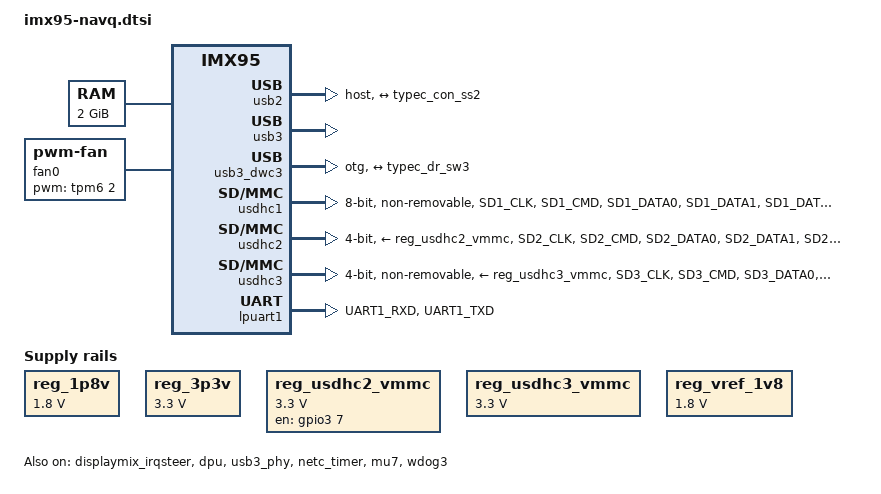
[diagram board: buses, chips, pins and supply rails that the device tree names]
// SPDX-License-Identifier: (GPL-2.0+ OR MIT)
/*
 * Copyright 2025 NXP
 */

/dts-v1/;

#include <dt-bindings/pwm/pwm.h>
#include <dt-bindings/phy/phy-imx8-pcie.h>
#include <dt-bindings/usb/pd.h>
#include "imx95.dtsi"

#define FALLING_EDGE		BIT(0)
#define RISING_EDGE		BIT(1)

#define BRD_SM_CTRL_SD3_WAKE		0x8000	/*!< PCAL6408A-0 */
#define BRD_SM_CTRL_PCIE1_WAKE		0x8001	/*!< PCAL6408A-4 */
#define BRD_SM_CTRL_BT_WAKE		0x8002	/*!< PCAL6408A-5 */
#define BRD_SM_CTRL_PCIE2_WAKE		0x8003	/*!< PCAL6408A-6 */
#define BRD_SM_CTRL_BUTTON		0x8004	/*!< PCAL6408A-7 */

/ {
	aliases {
		mmc0 = &usdhc1;
		mmc1 = &usdhc2;
		serial0 = &lpuart1;
		ethernet0 = &enetc_port0;
		ethernet1 = &enetc_port2;
	};

	chosen {
		stdout-path = &lpuart1;
		#address-cells = <2>;
		#size-cells = <2>;
		/* will be updated by U-boot when booting Xen */
		module@0 {
			bootargs = "earlycon=xen console=hvc0 loglevel=8 root=/dev/mmcblk1p2 rw rootwait";
			compatible = "xen,linux-zimage", "xen,multiboot-module";
			reg = <0x00000000 0x9e000000 0x00000000 0x2000000>;
		};
	};

	memory@80000000 {
		device_type = "memory";
		reg = <0x0 0x80000000 0 0x80000000>;
	};

	fan0: pwm-fan {
		compatible = "pwm-fan";
		#cooling-cells = <2>;
		pwms = <&tpm6 2 4000000 PWM_POLARITY_INVERTED>;
		cooling-levels = <64 128 192 255>;
	};

	reserved-memory {
		#address-cells = <2>;
		#size-cells = <2>;
		ranges;

		linux_cma: linux,cma {
			compatible = "shared-dma-pool";
			alloc-ranges = <0 0x80000000 0 0x7f000000>;
			size = <0 0x3c000000>;
			linux,cma-default;
			reusable;
		};

		vpu_boot: vpu_boot@a0000000 {
			reg = <0 0xa0000000 0 0x100000>;
			no-map;
		};

		vdev0vring0: vdev0vring0@88000000 {
			reg = <0 0x88000000 0 0x8000>;
			no-map;
		};

		vdev0vring1: vdev0vring1@88008000 {
			reg = <0 0x88008000 0 0x8000>;
			no-map;
		};

		vdev1vring0: vdev1vring0@88010000 {
			reg = <0 0x88010000 0 0x8000>;
			no-map;
		};

		vdev1vring1: vdev1vring1@88018000 {
			reg = <0 0x88018000 0 0x8000>;
			no-map;
		};

		rsc_table: rsc-table@88220000 {
			reg = <0 0x88220000 0 0x1000>;
			no-map;
		};

		vdevbuffer: vdevbuffer@88020000 {
			compatible = "shared-dma-pool";
			reg = <0 0x88020000 0 0x100000>;
			no-map;
		};

		m7text: m7text@90000000 {
			reg = <0 0x90000000 0 0x400000>;
			no-map;
		};

                uboolspl: uboolspl@88240000 {
	                reg = <0 0x88240000 0 0x58000>;
			no-map;
                };
	};

	reg_1p8v: regulator-1p8v {
		compatible = "regulator-fixed";
		regulator-max-microvolt = <1800000>;
		regulator-min-microvolt = <1800000>;
		regulator-name = "+V1.8_SW";
	};

	reg_3p3v: regulator-3p3v {
		compatible = "regulator-fixed";
		regulator-max-microvolt = <3300000>;
		regulator-min-microvolt = <3300000>;
		regulator-name = "+V3.3_SW";
	};

	reg_usdhc2_vmmc: regulator-usdhc2 {
		compatible = "regulator-fixed";
		pinctrl-names = "default";
		pinctrl-0 = <&pinctrl_reg_usdhc2_vmmc>;
		regulator-name = "VDD_SD2_3V3";
		regulator-min-microvolt = <3300000>;
		regulator-max-microvolt = <3300000>;
		gpio = <&gpio3 7 GPIO_ACTIVE_HIGH>;
		enable-active-high;
		off-on-delay-us = <12000>;
	};

	reg_usdhc3_vmmc: regulator-usdhc3 {
		compatible = "regulator-fixed";
		regulator-name = "vmmcusdhc3_fixed";
		regulator-min-microvolt = <3300000>;
		regulator-max-microvolt = <3300000>;
	};

	reg_vref_1v8: regulator-adc-vref {
		compatible = "regulator-fixed";
		regulator-name = "vref_1v8";
		regulator-min-microvolt = <1800000>;
		regulator-max-microvolt = <1800000>;
	};

	cm7: imx95-cm7 {
		compatible = "fsl,imx95-cm7";
		mbox-names = "tx", "rx", "rxdb";
		mboxes = <&mu7 0 1
			  &mu7 1 1
			  &mu7 3 1>;
		memory-region = <&vdevbuffer>, <&vdev0vring0>, <&vdev0vring1>,
				<&vdev1vring0>, <&vdev1vring1>, <&rsc_table>;
		/* cpuid and lmmid must align with SM firmware */
		fsl,cpu-id = <1>;
		fsl,lmm-id = <1>;
		fsl,startup-delay-ms = <50>;
		status = "okay";
	};
};

&adc1 {
	vref-supply = <&reg_vref_1v8>;
	status = "disabled";
};

/* The M7 also uses the AON.EDMA and sharing isn't supported yet in Linux */
&edma1 {
	status = "disabled";
};

&edma2 {
	dma-channels = <30>;
};

&displaymix_irqsteer {
	status = "okay";
};

&dpu {
	status = "okay";
};

&flexspi1 {
	pinctrl-names = "default";
	pinctrl-0 = <&pinctrl_flexspi1>;
	status = "disabled";

	/* TODO co-existence with M7/M33 if even possible */

	mt35xu01gbba: flash@0 {
		compatible = "jedec,spi-nor";
		reg = <0>;
		pinctrl-names = "default";
		pinctrl-0 = <&pinctrl_flexspi1_reset>;
		reset-gpios = <&gpio5 11 GPIO_ACTIVE_LOW>;
		#address-cells = <1>;
		#size-cells = <1>;
		spi-max-frequency = <200000000>;
		spi-tx-bus-width = <8>;
		spi-rx-bus-width = <8>;
	};
};

&usb2 {
	dr_mode = "host";
	disable-over-current;
	status = "okay";

	port {
		usb2_data_ss: endpoint {
			remote-endpoint = <&typec_con_ss2>;
		};
	};

};

&usb3 {
	status = "okay";
};

&usb3_phy {
	fsl,phy-pcs-tx-deemph-3p5db-attenuation-db = <17>;
	fsl,phy-pcs-tx-swing-full-percent = <100>;
	fsl,phy-tx-preemp-amp-tune-microamp = <600>;
	fsl,phy-tx-vboost-level-microvolt = <1156>;
	status = "okay";

	port {
		usb3_data_ss: endpoint {
			remote-endpoint = <&typec_con_ss3>;
		};
	};
};

&usb3_dwc3 {
	dr_mode = "otg";
	hnp-disable;
	srp-disable;
	adp-disable;
	usb-role-switch;
	role-switch-default-mode = "none";
	snps,dis-u1-entry-quirk;
	snps,dis-u2-entry-quirk;

	port {
		usb3_drd_sw: endpoint {
			remote-endpoint = <&typec_dr_sw3>;
		};
	};
};

&enetc_port1 {
	pinctrl-names = "default";
	pinctrl-0 = <&pinctrl_enetc1>;
	phy-mode = "rgmii-id";
	status = "disabled";

	fixed-link {
		speed = <1000>;
		full-duplex;
	};
};

&enetc_port2 {
	phy-mode = "2500base-x";
	status = "disabled";

	fixed-link {
		speed = <2500>;
		full-duplex;
	};
};

&netc_timer {
	status = "okay";
};

&usdhc1 {
	pinctrl-names = "default", "state_100mhz", "state_200mhz", "sleep";
	pinctrl-0 = <&pinctrl_usdhc1>;
	pinctrl-1 = <&pinctrl_usdhc1_100mhz>;
	pinctrl-2 = <&pinctrl_usdhc1_200mhz>;
	pinctrl-3 = <&pinctrl_usdhc1>;
	bus-width = <8>;
	non-removable;
	no-sdio;
	no-sd;
	status = "okay";
};

&usdhc2 {
	pinctrl-names = "default", "state_100mhz", "state_200mhz", "sleep";
	pinctrl-0 = <&pinctrl_usdhc2>, <&pinctrl_usdhc2_gpio>;
	pinctrl-1 = <&pinctrl_usdhc2_100mhz>, <&pinctrl_usdhc2_gpio>;
	pinctrl-2 = <&pinctrl_usdhc2_200mhz>, <&pinctrl_usdhc2_gpio>;
	pinctrl-3 = <&pinctrl_usdhc2>, <&pinctrl_usdhc2_gpio>;
	cd-gpios = <&gpio3 0 GPIO_ACTIVE_LOW>;
	fsl,cd-gpio-wakeup-disable;
	vmmc-supply = <&reg_usdhc2_vmmc>;
	bus-width = <4>;
	status = "okay";
};

&usdhc3 {
	pinctrl-names = "default";
	pinctrl-0 = <&pinctrl_usdhc3>;
	vmmc-supply = <&reg_usdhc3_vmmc>;
	mmc-pwrseq = <&usdhc3_pwrseq>;
	bus-width = <4>;
	keep-power-in-suspend;
	non-removable;
	status = "okay";
};

&lpuart1 {
	/* console */
	pinctrl-names = "default";
	pinctrl-0 = <&pinctrl_uart1>;
	/delete-property/ dmas;
	/delete-property/ dma-names;
	status = "okay";
};

&mu7 {
	status = "okay";
};

&scmi_misc {
	nxp,ctrl-ids = <BRD_SM_CTRL_SD3_WAKE		1
			BRD_SM_CTRL_PCIE1_WAKE		1
			BRD_SM_CTRL_BT_WAKE		1
			BRD_SM_CTRL_PCIE2_WAKE		1
			BRD_SM_CTRL_BUTTON		1>;
};

&wdog3 {
	fsl,ext-reset-output;
	status = "okay";
};

&scmi_iomuxc {
	pinctrl_flexspi1: flexspi1grp {
		fsl,pins = <
			IMX95_PAD_XSPI1_SS0_B__FLEXSPI1_A_SS0_B			0x3fe
			IMX95_PAD_XSPI1_SCLK__FLEXSPI1_A_SCLK			0x07e
			IMX95_PAD_XSPI1_DQS__FLEXSPI1_A_DQS			0x07e
			IMX95_PAD_XSPI1_DATA0__FLEXSPI1_A_DATA_BIT0		0x002
			IMX95_PAD_XSPI1_DATA1__FLEXSPI1_A_DATA_BIT1		0x002
			IMX95_PAD_XSPI1_DATA2__FLEXSPI1_A_DATA_BIT2		0x002
			IMX95_PAD_XSPI1_DATA3__FLEXSPI1_A_DATA_BIT3		0x002
			IMX95_PAD_XSPI1_DATA4__FLEXSPI1_A_DATA_BIT4		0x002
			IMX95_PAD_XSPI1_DATA5__FLEXSPI1_A_DATA_BIT5		0x002
			IMX95_PAD_XSPI1_DATA6__FLEXSPI1_A_DATA_BIT6		0x002
			IMX95_PAD_XSPI1_DATA7__FLEXSPI1_A_DATA_BIT7		0x002
		>;
	};

	pinctrl_flexspi1_reset: flexspi1-reset-grp {
		fsl,pins = <
			IMX95_PAD_XSPI1_SS1_B__GPIO5_IO_BIT11			0x3fe
		>;
	};

	pinctrl_flexcan1: flexcan1grp {
		fsl,pins = <
			IMX95_PAD_PDM_CLK__AONMIX_TOP_CAN1_TX		0x39e
			IMX95_PAD_PDM_BIT_STREAM0__AONMIX_TOP_CAN1_RX	0x39e
		>;
	};

	pinctrl_flexcan2: flexcan2grp {
		fsl,pins = <
			IMX95_PAD_GPIO_IO25__CAN2_TX			0x39e
			IMX95_PAD_GPIO_IO27__CAN2_RX			0x39e
		>;
	};

	pinctrl_flexcan3: flexcan3grp {
		fsl,pins = <
			IMX95_PAD_CCM_CLKO3__CAN3_TX			0x39e
			IMX95_PAD_CCM_CLKO4__CAN3_RX			0x39e
		>;
	};

	pinctrl_lpi2c3: lpi2c3grp {
		fsl,pins = <
			IMX95_PAD_GPIO_IO28__LPI2C3_SDA			0x40000b9e
			IMX95_PAD_GPIO_IO29__LPI2C3_SCL			0x40000b9e
		>;
	};

	pinctrl_lpi2c4: lpi2c4grp {
		fsl,pins = <
			IMX95_PAD_GPIO_IO30__LPI2C4_SDA			0x40000b9e
			IMX95_PAD_GPIO_IO31__LPI2C4_SCL			0x40000b9e
		>;
	};

	pinctrl_pcie0: pcie0grp {
		fsl,pins = <
			IMX95_PAD_GPIO_IO32__HSIOMIX_TOP_PCIE1_CLKREQ_B		0x40000b1e
		>;
	};

	pinctrl_pcie1: pcie1grp {
		fsl,pins = <
			IMX95_PAD_GPIO_IO35__HSIOMIX_TOP_PCIE2_CLKREQ_B		0x40000b1e
		>;
	};

	pinctrl_uart1: uart1grp {
		fsl,pins = <
			IMX95_PAD_UART1_RXD__AONMIX_TOP_LPUART1_RX	0x31e
			IMX95_PAD_UART1_TXD__AONMIX_TOP_LPUART1_TX	0x31e
		>;
	};

	pinctrl_emdio: emdiogrp{
		fsl,pins = <
			IMX95_PAD_ENET2_MDC__NETCMIX_TOP_NETC_MDC		0x57e
			IMX95_PAD_ENET2_MDIO__NETCMIX_TOP_NETC_MDIO		0x97e
		>;
	};

	pinctrl_enetc0: enetc0grp {
		fsl,pins = <
			IMX95_PAD_ENET1_TD3__NETCMIX_TOP_ETH0_RGMII_TD3		0x57e
			IMX95_PAD_ENET1_TD2__NETCMIX_TOP_ETH0_RGMII_TD2		0x57e
			IMX95_PAD_ENET1_TD1__NETCMIX_TOP_ETH0_RGMII_TD1		0x57e
			IMX95_PAD_ENET1_TD0__NETCMIX_TOP_ETH0_RGMII_TD0		0x57e
			IMX95_PAD_ENET1_TX_CTL__NETCMIX_TOP_ETH0_RGMII_TX_CTL	0x57e
			IMX95_PAD_ENET1_TXC__NETCMIX_TOP_ETH0_RGMII_TX_CLK	0x58e
			IMX95_PAD_ENET1_RX_CTL__NETCMIX_TOP_ETH0_RGMII_RX_CTL	0x57e
			IMX95_PAD_ENET1_RXC__NETCMIX_TOP_ETH0_RGMII_RX_CLK	0x58e
			IMX95_PAD_ENET1_RD0__NETCMIX_TOP_ETH0_RGMII_RD0		0x57e
			IMX95_PAD_ENET1_RD1__NETCMIX_TOP_ETH0_RGMII_RD1		0x57e
			IMX95_PAD_ENET1_RD2__NETCMIX_TOP_ETH0_RGMII_RD2		0x57e
			IMX95_PAD_ENET1_RD3__NETCMIX_TOP_ETH0_RGMII_RD3		0x57e
			IMX95_PAD_CCM_CLKO2__NETCMIX_TOP_NETC_TMR_1588_PP1	0x31e
		>;
	};

	pinctrl_enetc1: enetc1grp {
		fsl,pins = <
			IMX95_PAD_ENET2_TD3__NETCMIX_TOP_ETH1_RGMII_TD3		0x03e
			IMX95_PAD_ENET2_TD2__NETCMIX_TOP_ETH1_RGMII_TD2		0x03e
			IMX95_PAD_ENET2_TD1__NETCMIX_TOP_ETH1_RGMII_TD1		0x03e
			IMX95_PAD_ENET2_TD0__NETCMIX_TOP_ETH1_RGMII_TD0		0x03e
			IMX95_PAD_ENET2_TX_CTL__NETCMIX_TOP_ETH1_RGMII_TX_CTL	0x03e
			IMX95_PAD_ENET2_TXC__NETCMIX_TOP_ETH1_RGMII_TX_CLK	0x006
			IMX95_PAD_ENET2_RX_CTL__NETCMIX_TOP_ETH1_RGMII_RX_CTL	0x03e
			IMX95_PAD_ENET2_RXC__NETCMIX_TOP_ETH1_RGMII_RX_CLK	0x006
			IMX95_PAD_ENET2_RD0__NETCMIX_TOP_ETH1_RGMII_RD0		0x03e
			IMX95_PAD_ENET2_RD1__NETCMIX_TOP_ETH1_RGMII_RD1		0x03e
			IMX95_PAD_ENET2_RD2__NETCMIX_TOP_ETH1_RGMII_RD2		0x03e
			IMX95_PAD_ENET2_RD3__NETCMIX_TOP_ETH1_RGMII_RD3		0x03e
		>;
	};

	pinctrl_usdhc1: usdhc1grp {
		fsl,pins = <
			IMX95_PAD_SD1_CLK__USDHC1_CLK			0x158e
			IMX95_PAD_SD1_CMD__USDHC1_CMD			0x138e
			IMX95_PAD_SD1_DATA0__USDHC1_DATA0		0x138e
			IMX95_PAD_SD1_DATA1__USDHC1_DATA1		0x138e
			IMX95_PAD_SD1_DATA2__USDHC1_DATA2		0x138e
			IMX95_PAD_SD1_DATA3__USDHC1_DATA3		0x138e
			IMX95_PAD_SD1_DATA4__USDHC1_DATA4		0x138e
			IMX95_PAD_SD1_DATA5__USDHC1_DATA5		0x138e
			IMX95_PAD_SD1_DATA6__USDHC1_DATA6		0x138e
			IMX95_PAD_SD1_DATA7__USDHC1_DATA7		0x138e
			IMX95_PAD_SD1_STROBE__USDHC1_STROBE		0x158e
		>;
	};

	pinctrl_usdhc1_100mhz: usdhc1-100mhzgrp {
		fsl,pins = <
			IMX95_PAD_SD1_CLK__USDHC1_CLK			0x158e
			IMX95_PAD_SD1_CMD__USDHC1_CMD			0x138e
			IMX95_PAD_SD1_DATA0__USDHC1_DATA0		0x138e
			IMX95_PAD_SD1_DATA1__USDHC1_DATA1		0x138e
			IMX95_PAD_SD1_DATA2__USDHC1_DATA2		0x138e
			IMX95_PAD_SD1_DATA3__USDHC1_DATA3		0x138e
			IMX95_PAD_SD1_DATA4__USDHC1_DATA4		0x138e
			IMX95_PAD_SD1_DATA5__USDHC1_DATA5		0x138e
			IMX95_PAD_SD1_DATA6__USDHC1_DATA6		0x138e
			IMX95_PAD_SD1_DATA7__USDHC1_DATA7		0x138e
			IMX95_PAD_SD1_STROBE__USDHC1_STROBE		0x158e
		>;
	};

	pinctrl_usdhc1_200mhz: usdhc1-200mhzgrp {
		fsl,pins = <
			IMX95_PAD_SD1_CLK__USDHC1_CLK			0x15fe
			IMX95_PAD_SD1_CMD__USDHC1_CMD			0x13fe
			IMX95_PAD_SD1_DATA0__USDHC1_DATA0		0x13fe
			IMX95_PAD_SD1_DATA1__USDHC1_DATA1		0x13fe
			IMX95_PAD_SD1_DATA2__USDHC1_DATA2		0x13fe
			IMX95_PAD_SD1_DATA3__USDHC1_DATA3		0x13fe
			IMX95_PAD_SD1_DATA4__USDHC1_DATA4		0x13fe
			IMX95_PAD_SD1_DATA5__USDHC1_DATA5		0x13fe
			IMX95_PAD_SD1_DATA6__USDHC1_DATA6		0x13fe
			IMX95_PAD_SD1_DATA7__USDHC1_DATA7		0x13fe
			IMX95_PAD_SD1_STROBE__USDHC1_STROBE		0x15fe
		>;
	};

	pinctrl_reg_usdhc2_vmmc: regusdhc2vmmcgrp {
		fsl,pins = <
			IMX95_PAD_SD2_RESET_B__GPIO3_IO_BIT7		0x31e
		>;
	};

	pinctrl_usdhc2_gpio: usdhc2gpiogrp {
		fsl,pins = <
			IMX95_PAD_SD2_CD_B__GPIO3_IO_BIT0		0x31e
		>;
	};

	pinctrl_usdhc2: usdhc2grp {
		fsl,pins = <
			IMX95_PAD_SD2_CLK__USDHC2_CLK			0x158e
			IMX95_PAD_SD2_CMD__USDHC2_CMD			0x138e
			IMX95_PAD_SD2_DATA0__USDHC2_DATA0		0x138e
			IMX95_PAD_SD2_DATA1__USDHC2_DATA1		0x138e
			IMX95_PAD_SD2_DATA2__USDHC2_DATA2		0x138e
			IMX95_PAD_SD2_DATA3__USDHC2_DATA3		0x138e
			IMX95_PAD_SD2_VSELECT__USDHC2_VSELECT		0x51e
		>;
	};

	pinctrl_usdhc2_100mhz: usdhc2-100mhzgrp {
		fsl,pins = <
			IMX95_PAD_SD2_CLK__USDHC2_CLK			0x158e
			IMX95_PAD_SD2_CMD__USDHC2_CMD			0x138e
			IMX95_PAD_SD2_DATA0__USDHC2_DATA0		0x138e
			IMX95_PAD_SD2_DATA1__USDHC2_DATA1		0x138e
			IMX95_PAD_SD2_DATA2__USDHC2_DATA2		0x138e
			IMX95_PAD_SD2_DATA3__USDHC2_DATA3		0x138e
			IMX95_PAD_SD2_VSELECT__USDHC2_VSELECT		0x51e
		>;
	};

	pinctrl_usdhc2_200mhz: usdhc2-200mhzgrp {
		fsl,pins = <
			IMX95_PAD_SD2_CLK__USDHC2_CLK			0x158e
			IMX95_PAD_SD2_CMD__USDHC2_CMD			0x138e
			IMX95_PAD_SD2_DATA0__USDHC2_DATA0		0x138e
			IMX95_PAD_SD2_DATA1__USDHC2_DATA1		0x138e
			IMX95_PAD_SD2_DATA2__USDHC2_DATA2		0x138e
			IMX95_PAD_SD2_DATA3__USDHC2_DATA3		0x138e
			IMX95_PAD_SD2_VSELECT__USDHC2_VSELECT		0x51e
		>;
	};

	pinctrl_usdhc3: usdhc3grp {
		fsl,pins = <
			IMX95_PAD_SD3_CLK__USDHC3_CLK				0x158e
			IMX95_PAD_SD3_CMD__USDHC3_CMD				0x138e
			IMX95_PAD_SD3_DATA0__USDHC3_DATA0			0x138e
			IMX95_PAD_SD3_DATA1__USDHC3_DATA1			0x138e
			IMX95_PAD_SD3_DATA2__USDHC3_DATA2			0x138e
			IMX95_PAD_SD3_DATA3__USDHC3_DATA3			0x138e
		>;
	};
};

&thermal_zones {
	a55-thermal {
		trips {
			atrip2: trip2 {
				temperature = <55000>;
				hysteresis = <2000>;
				type = "active";
			};

			atrip3: trip3 {
				temperature = <65000>;
				hysteresis = <2000>;
				type = "active";
			};

			atrip4: trip4 {
				temperature = <75000>;
				hysteresis = <2000>;
				type = "active";
			};
		};

		cooling-maps {
			map1 {
				trip = <&atrip2>;
				cooling-device = <&fan0 0 1>;
			};

			map2 {
				trip = <&atrip3>;
				cooling-device = <&fan0 1 2>;
			};

			map3 {
				trip = <&atrip4>;
				cooling-device = <&fan0 2 3>;
			};
		};
	};

	pf09 {
		polling-delay-passive = <250>;
		polling-delay = <2000>;
		thermal-sensors = <&scmi_sensor 2>;
		trips {
			pf09_alert: trip0 {
				temperature = <140000>;
				hysteresis = <2000>;
				type = "passive";
			};

			pf09_crit: trip1 {
				temperature = <155000>;
				hysteresis = <2000>;
				type = "critical";
			};
		};
	};

	pf53_arm {
		polling-delay-passive = <250>;
		polling-delay = <2000>;
		thermal-sensors = <&scmi_sensor 4>;
		trips {
			pf5301_alert: trip0 {
				temperature = <140000>;
				hysteresis = <2000>;
				type = "passive";
			};

			pf5301_crit: trip1 {
				temperature = <155000>;
				hysteresis = <2000>;
				type = "critical";
			};
		};

		cooling-maps {
			map0 {
				trip = <&pf5301_alert>;
				cooling-device =
					<&A55_0 THERMAL_NO_LIMIT THERMAL_NO_LIMIT>,
					<&A55_1 THERMAL_NO_LIMIT THERMAL_NO_LIMIT>,
					<&A55_2 THERMAL_NO_LIMIT THERMAL_NO_LIMIT>,
					<&A55_3 THERMAL_NO_LIMIT THERMAL_NO_LIMIT>,
					<&A55_4 THERMAL_NO_LIMIT THERMAL_NO_LIMIT>,
					<&A55_5 THERMAL_NO_LIMIT THERMAL_NO_LIMIT>;
			};
		};
	};

	pf53_soc {
		polling-delay-passive = <250>;
		polling-delay = <2000>;
		thermal-sensors = <&scmi_sensor 3>;
		trips {
			pf5302_alert: trip0 {
				temperature = <140000>;
				hysteresis = <2000>;
				type = "passive";
			};

			pf5302_crit: trip1 {
				temperature = <155000>;
				hysteresis = <2000>;
				type = "critical";
			};
		};
	};
};

&gpio2 {
	status = "disabled";
};

&vpuctrl {
	boot = <&vpu_boot>;
	sram = <&sram1>;
};
